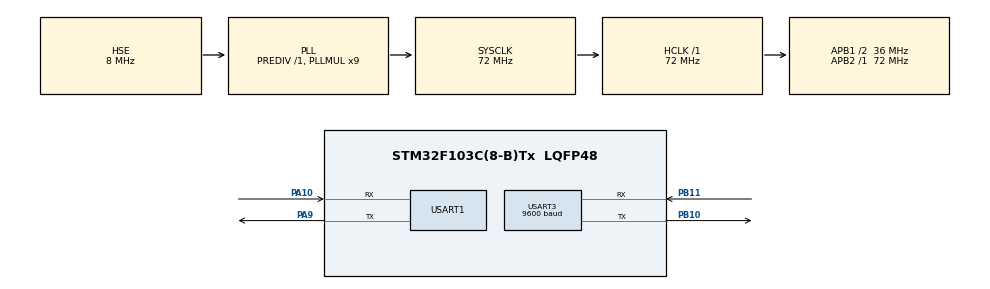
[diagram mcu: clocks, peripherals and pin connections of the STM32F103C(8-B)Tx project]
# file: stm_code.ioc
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Mcu.Family=STM32F1
Mcu.Name=STM32F103C(8-B)Tx
Mcu.Package=LQFP48
NVIC.PriorityGroup=NVIC_PRIORITYGROUP_4
NVIC.USART1_IRQn=true\:0\:0\:false\:false\:true\:true\:true\:true
NVIC.USART3_IRQn=true\:0\:0\:false\:false\:true\:true\:true\:true
PA10.Mode=Asynchronous
PA10.Signal=USART1_RX
PA9.Mode=Asynchronous
PA9.Signal=USART1_TX
PB10.Mode=Asynchronous
PB10.Signal=USART3_TX
PB11.Mode=Asynchronous
PB11.Signal=USART3_RX
PD0-OSC_IN.Mode=HSE-External-Oscillator
PD0-OSC_IN.Signal=RCC_OSC_IN
PD1-OSC_OUT.Mode=HSE-External-Oscillator
PD1-OSC_OUT.Signal=RCC_OSC_OUT
ProjectManager.HeapSize=0x200
ProjectManager.StackSize=0x400
ProjectManager.TargetToolchain=STM32CubeIDE
RCC.AHBFreq_Value=72000000
RCC.APB1CLKDivider=RCC_HCLK_DIV2
RCC.APB1Freq_Value=36000000
RCC.APB1TimFreq_Value=72000000
RCC.APB2Freq_Value=72000000
RCC.APB2TimFreq_Value=72000000
RCC.HCLKFreq_Value=72000000
RCC.PLLMUL=RCC_PLL_MUL9
RCC.PLLSourceVirtual=RCC_PLLSOURCE_HSE
RCC.SYSCLKFreq_VALUE=72000000
RCC.SYSCLKSource=RCC_SYSCLKSOURCE_PLLCLK
RCC.USBFreq_Value=72000000
USART1.VirtualMode=VM_ASYNC
USART3.BaudRate=9600
USART3.VirtualMode=VM_ASYNC
VP_SYS_VS_ND.Mode=No_Debug
board=custom

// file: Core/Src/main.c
/* USER CODE BEGIN Header */
/**
  ******************************************************************************
  * @file           : main.c
  * @brief          : PZEM004T Energy Monitor Reader
  *
  * Hardware:
  * - PZEM-004T energy monitor (TTL UART version)
  * - AC load connected to PZEM (required for valid readings)
  *
  * Wiring:
  * STM32 USART3:
  *   PB10 (TX) → PZEM RX
  *   PB11 (RX) → PZEM TX
  *   GND → PZEM GND
  *
  * Debug output:
  *   PA9 (TX) → FTDI RX @ 115200 baud
  *   GND → FTDI GND
  *
  * PZEM Power:
  *   L/N → AC 220V mains with test load
  *
  ******************************************************************************
  */
/* USER CODE END Header */
#include "main.h"

/* USER CODE BEGIN Includes */
#include "pzem004t.h"
#include <stdio.h>
/* USER CODE END Includes */

/* USER CODE BEGIN PD */
#define POLL_INTERVAL 500  // Poll PZEM every 500ms (2 Hz update rate)
#define MAX_RETRIES   3    // Retry count for failed PZEM reads
#define STARTUP_ATTEMPTS 5 // Attempts to detect PZEM on boot
/* USER CODE END PD */

UART_HandleTypeDef huart1;
UART_HandleTypeDef huart3;

/* USER CODE BEGIN PV */
PZEM_t pzem;
/* USER CODE END PV */

void SystemClock_Config(void);
static void MX_GPIO_Init(void);
static void MX_USART1_UART_Init(void);
static void MX_USART3_UART_Init(void);

/* USER CODE BEGIN 0 */

// Printf to USART1 (PA9-TX) for debug output
int _write(int file, char *ptr, int len) {
    HAL_UART_Transmit(&huart1, (uint8_t*)ptr, len, HAL_MAX_DELAY);
    return len;
}

/* USER CODE END 0 */

int main(void)
{

  /* MCU Configuration--------------------------------------------------------*/

  /* Reset of all peripherals, Initializes the Flash interface and the Systick. */
  HAL_Init();

  /* Configure the system clock */
  SystemClock_Config();

  /* Initialize all configured peripherals */
  MX_GPIO_Init();
  MX_USART1_UART_Init();
  MX_USART3_UART_Init();
  /* USER CODE BEGIN 2 */

  printf("\r\n============================================\r\n");
  printf("=== STM32 PZEM004T Energy Monitor ===\r\n");
  printf("============================================\r\n");
  printf("USART3: PB10(TX) PB11(RX) @ 9600 8N1\r\n");
  printf("USART1: PA9(TX) @ 115200 (Debug)\r\n");
  printf("PZEM Address: 0x01\r\n");
  printf("Using raw register polling (proven method)\r\n");
  printf("============================================\r\n\r\n");

  // Initialize PZEM
  PZEM_Init(&pzem, &huart3, 0x01);
  printf("PZEM initialized\r\n");

  // Startup: verify PZEM is responding at address 0x01
  printf("Checking PZEM at address 0x%02X...\r\n", pzem.addr);
  bool pzem_found = false;
  for (uint8_t attempt = 1; attempt <= STARTUP_ATTEMPTS; attempt++) {
      if (PZEM_ReadAll(&pzem)) {
          printf("PZEM detected on attempt %d! Voltage: %.1fV\r\n", attempt, PZEM_Voltage(&pzem));
          pzem_found = true;
          break;
      }
      printf("  Attempt %d/%d failed, retrying...\r\n", attempt, STARTUP_ATTEMPTS);
      HAL_Delay(500);
  }

  if (!pzem_found) {
      printf("WARNING: PZEM not responding! Check wiring and address.\r\n");
  }

  // Reset energy counter on startup for per-session tracking
  if (pzem_found) {
      if (PZEM_ResetEnergy(&pzem)) {
          printf("Energy counter reset to 0\r\n");
      } else {
          printf("WARNING: Energy reset failed\r\n");
      }
  }

  // Start Independent Watchdog (IWDG) — ~4 second timeout
  // LSI ~40kHz, prescaler /64 = 625 Hz, reload 2500 = 4 sec
  IWDG->KR  = 0x5555;  // Enable write access
  IWDG->PR  = 4;       // Prescaler /64
  IWDG->RLR = 2500;    // Reload value
  IWDG->KR  = 0xCCCC;  // Start IWDG
  printf("Watchdog started (~4s timeout)\r\n");

  printf("Polling every %d ms...\r\n\r\n", POLL_INTERVAL);

  /* USER CODE END 2 */

  /* Infinite loop */
  /* USER CODE BEGIN WHILE */
  uint32_t lastPoll = 0;
  uint32_t consecutiveFails = 0;

  while (1)
  {
    /* USER CODE END WHILE */

    /* USER CODE BEGIN 3 */

    uint32_t now = HAL_GetTick();

    if (now - lastPoll >= POLL_INTERVAL) {
        lastPoll = now;

        // Read all PZEM values with retry logic
        bool read_ok = false;
        for (uint8_t retry = 0; retry < MAX_RETRIES; retry++) {
            if (PZEM_ReadAll(&pzem)) {
                read_ok = true;
                break;
            }
        }

        if (read_ok) {
            consecutiveFails = 0;

            // Parse cached values (no additional blocking)
            float voltage = PZEM_Voltage(&pzem);
            float current = PZEM_Current(&pzem);
            float power = PZEM_Power(&pzem);
            float energy = PZEM_Energy(&pzem);
            float frequency = PZEM_Frequency(&pzem);
            float pf = PZEM_PowerFactor(&pzem);

            // Print readable results with timestamp
            printf("[%lu ms] Voltage: %.1fV | Current: %.3fA | Power: %.1fW | Energy: %.3fkWh | Freq: %.1fHz | PF: %.2f\r\n",
                   now, voltage, current, power, energy, frequency, pf);
        } else {
            consecutiveFails++;
            printf("[%lu ms] PZEM Read FAILED after %d retries (consecutive failures: %lu)\r\n",
                   now, MAX_RETRIES, consecutiveFails);
        }
    }

    // Feed watchdog — must be called within ~4s or MCU resets
    IWDG->KR = 0xAAAA;
  }
  /* USER CODE END 3 */
}

void SystemClock_Config(void)
{
  RCC_OscInitTypeDef RCC_OscInitStruct = {0};
  RCC_ClkInitTypeDef RCC_ClkInitStruct = {0};

  /** Initializes the RCC Oscillators according to the specified parameters
  * in the RCC_OscInitTypeDef structure.
  */
  RCC_OscInitStruct.OscillatorType = RCC_OSCILLATORTYPE_HSE;
  RCC_OscInitStruct.HSEState = RCC_HSE_ON;
  RCC_OscInitStruct.HSEPredivValue = RCC_HSE_PREDIV_DIV1;
  RCC_OscInitStruct.HSIState = RCC_HSI_ON;
  RCC_OscInitStruct.PLL.PLLState = RCC_PLL_ON;
  RCC_OscInitStruct.PLL.PLLSource = RCC_PLLSOURCE_HSE;
  RCC_OscInitStruct.PLL.PLLMUL = RCC_PLL_MUL9;
  if (HAL_RCC_OscConfig(&RCC_OscInitStruct) != HAL_OK)
  {
    Error_Handler();
  }

  /** Initializes the CPU, AHB and APB buses clocks
  */
  RCC_ClkInitStruct.ClockType = RCC_CLOCKTYPE_HCLK|RCC_CLOCKTYPE_SYSCLK
                              |RCC_CLOCKTYPE_PCLK1|RCC_CLOCKTYPE_PCLK2;
  RCC_ClkInitStruct.SYSCLKSource = RCC_SYSCLKSOURCE_PLLCLK;
  RCC_ClkInitStruct.AHBCLKDivider = RCC_SYSCLK_DIV1;
  RCC_ClkInitStruct.APB1CLKDivider = RCC_HCLK_DIV2;
  RCC_ClkInitStruct.APB2CLKDivider = RCC_HCLK_DIV1;

  if (HAL_RCC_ClockConfig(&RCC_ClkInitStruct, FLASH_LATENCY_2) != HAL_OK)
  {
    Error_Handler();
  }
}

static void MX_USART1_UART_Init(void)
{

  huart1.Instance = USART1;
  huart1.Init.BaudRate = 115200;
  huart1.Init.WordLength = UART_WORDLENGTH_8B;
  huart1.Init.StopBits = UART_STOPBITS_1;
  huart1.Init.Parity = UART_PARITY_NONE;
  huart1.Init.Mode = UART_MODE_TX_RX;
  huart1.Init.HwFlowCtl = UART_HWCONTROL_NONE;
  huart1.Init.OverSampling = UART_OVERSAMPLING_16;
  if (HAL_UART_Init(&huart1) != HAL_OK)
  {
    Error_Handler();
  }

}

static void MX_USART3_UART_Init(void)
{

  huart3.Instance = USART3;
  huart3.Init.BaudRate = 9600;
  huart3.Init.WordLength = UART_WORDLENGTH_8B;
  huart3.Init.StopBits = UART_STOPBITS_1;
  huart3.Init.Parity = UART_PARITY_NONE;
  huart3.Init.Mode = UART_MODE_TX_RX;
  huart3.Init.HwFlowCtl = UART_HWCONTROL_NONE;
  huart3.Init.OverSampling = UART_OVERSAMPLING_16;
  if (HAL_UART_Init(&huart3) != HAL_OK)
  {
    Error_Handler();
  }

}

static void MX_GPIO_Init(void)
{

  /* GPIO Ports Clock Enable */
  __HAL_RCC_GPIOD_CLK_ENABLE();
  __HAL_RCC_GPIOB_CLK_ENABLE();
  __HAL_RCC_GPIOA_CLK_ENABLE();

}

void Error_Handler(void)
{
  __disable_irq();
  while (1)
  {
  }
}
